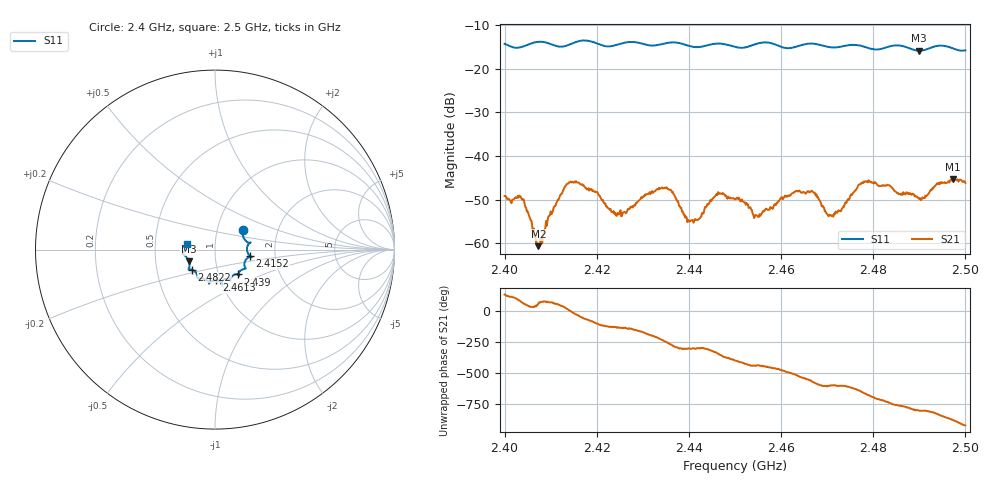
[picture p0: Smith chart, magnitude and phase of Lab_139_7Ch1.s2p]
# Hz S RI R 50
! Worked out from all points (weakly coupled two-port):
!   601 points, 2.4 GHz to 2.5 GHz, reference 50 ohm
!   highest |S21| = -45.32 dB at 2.4973 GHz (marker M1); lowest = -60.6 dB at 2.4073 GHz (marker M2)
!   lowest |S11| = -15.9 dB at 2.4898 GHz (marker M3), VSWR 1.38, Z = 37 - j5 ohm
!   |S11| at or under -10 dB: start of sweep to end of sweep
!   S12 and S22 are empty: the file has one direction only
!   S11 on the Smith chart (normalised r, x): 2.4 GHz: 1.33, +0.31; 2.4152 GHz: 1.48, -0.11; 2.439 GHz: 1.24, -0.36; 2.4613 GHz: 0.96, -0.34; 2.4822 GHz: 0.75, -0.17; 2.5 GHz: 0.73, +0.05
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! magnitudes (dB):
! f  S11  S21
! 2.4 GHz  -14.3  -49.2
! 2.4037 GHz  -15.1  -49.8
! 2.4073 GHz  -13.9  -60.6
! 2.413 GHz  -14.9  -47.2
! 2.4152 GHz  -14.0  -45.8
! 2.4167 GHz  -13.6  -46.5
! 2.4243 GHz  -14.6  -53.7
! 2.4333 GHz  -14.6  -47.7
! 2.436 GHz  -14.0  -47.7
! 2.439 GHz  -14.5  -53.4
! 2.4463 GHz  -14.3  -48.3
! 2.45 GHz  -15.0  -49.9
! 2.4547 GHz  -14.3  -53.6
! 2.4613 GHz  -15.3  -49.3
! 2.4667 GHz  -14.3  -47.9
! 2.4708 GHz  -15.1  -53.6
! 2.4775 GHz  -14.8  -46.3
! 2.4822 GHz  -15.4  -46.8
! 2.4833 GHz  -15.0  -46.7
! 2.4898 GHz  -15.9  -49.7
! 2.4973 GHz  -15.4  -45.3
! 2.5 GHz  -15.8  -46.2
